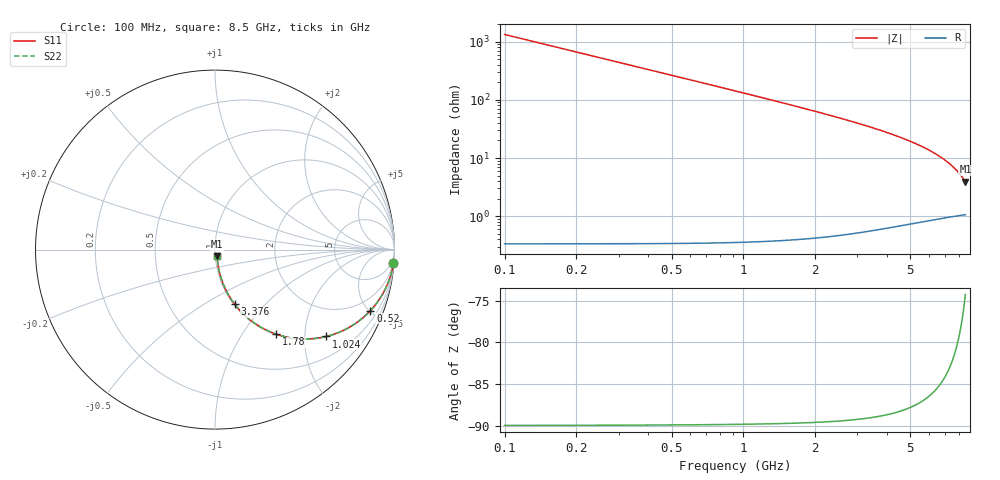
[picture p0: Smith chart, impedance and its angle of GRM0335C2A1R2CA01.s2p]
!Murata Part Number: GRM0335C2A1R2CA01
!These Parameters are Measured in Series Mode Connection
!Data Generated on Mar 30, 2021
!  o--ll--o
!Port1  Port2
!  o------o
!Operation Temp=25[degC], DC Bias Voltage=0[V]
!Freq. Start=100[MHz] Stop=9[GHz] 401[Steps]
# Hz S RI R 50
!Freq.(Hz) S11(Real) S11(Imag) S21(Real) S21(Imag) S12(Real) S12(Imag) S22(Real) S22(Imag)
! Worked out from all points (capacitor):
!   401 points, 100 MHz to 8.5 GHz, reference 50 ohm
!   read as one part in series: C = 1.2 pF near 142 MHz
!   lowest |Z| = 3.92 ohm at 8.5 GHz (marker M1)
!   S11 on the Smith chart (normalised r, x): 100 MHz: 1, -27; 520 MHz: 1.01, -5.09; 1.024 GHz: 1.01, -2.56; 1.78 GHz: 1.01, -1.44; 3.376 GHz: 1.01, -0.69; 8.5 GHz: 1.02, -0.08
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1e8  0.9943 -0.075  0.00567 0.075  0.00567 0.075  0.9943 -0.075
1.21e8  0.9917 -0.0905  0.00828 0.0905  0.00828 0.0905  0.9917 -0.0905
1.63e8  0.9851 -0.1211  0.0149 0.1211  0.0149 0.1211  0.9851 -0.1211
2.05e8  0.9766 -0.151  0.0234 0.151  0.0234 0.151  0.9766 -0.151
2.68e8  0.9606 -0.1942  0.0394 0.1942  0.0394 0.1942  0.9606 -0.1942
3.73e8  0.9263 -0.2608  0.0737 0.2608  0.0737 0.2608  0.9263 -0.2608
5.2e8  0.8657 -0.3403  0.1343 0.3403  0.1343 0.3403  0.8657 -0.3403
6.25e8  0.8166 -0.3862  0.1834 0.3862  0.1834 0.3862  0.8166 -0.3862
7.51e8  0.7544 -0.4294  0.2456 0.4294  0.2456 0.4294  0.7544 -0.4294
1.024e9  0.6207 -0.4838  0.3793 0.4838  0.3793 0.4838  0.6207 -0.4838
1.255e9  0.5187 -0.4979  0.4813 0.4979  0.4813 0.4979  0.5187 -0.4979
1.507e9  0.4242 -0.492  0.5758 0.492  0.5758 0.492  0.4242 -0.492
1.78e9  0.3415 -0.4714  0.6585 0.4714  0.6585 0.4714  0.3415 -0.4714
2.305e9  0.2286 -0.4158  0.7714 0.4158  0.7714 0.4158  0.2286 -0.4158
2.914e9  0.1484 -0.3494  0.8516 0.3494  0.8516 0.3494  0.1484 -0.3494
3.376e9  0.1095 -0.3043  0.8905 0.3043  0.8905 0.3043  0.1095 -0.3043
4.3e9  0.0626 -0.2293  0.9374 0.2293  0.9374 0.2293  0.0626 -0.2293
5.707e9  0.0298 -0.1454  0.9702 0.1454  0.9702 0.1454  0.0298 -0.1454
6.484e9  0.0211 -0.1095  0.9789 0.1095  0.9789 0.1095  0.0211 -0.1095
7.114e9  0.0166 -0.0841  0.9834 0.0841  0.9834 0.0841  0.0166 -0.0841
7.849e9  0.0134 -0.0578  0.9866 0.0578  0.9866 0.0578  0.0134 -0.0578
8.5e9  0.0119 -0.0369  0.9881 0.0369  0.9881 0.0369  0.0119 -0.0369
